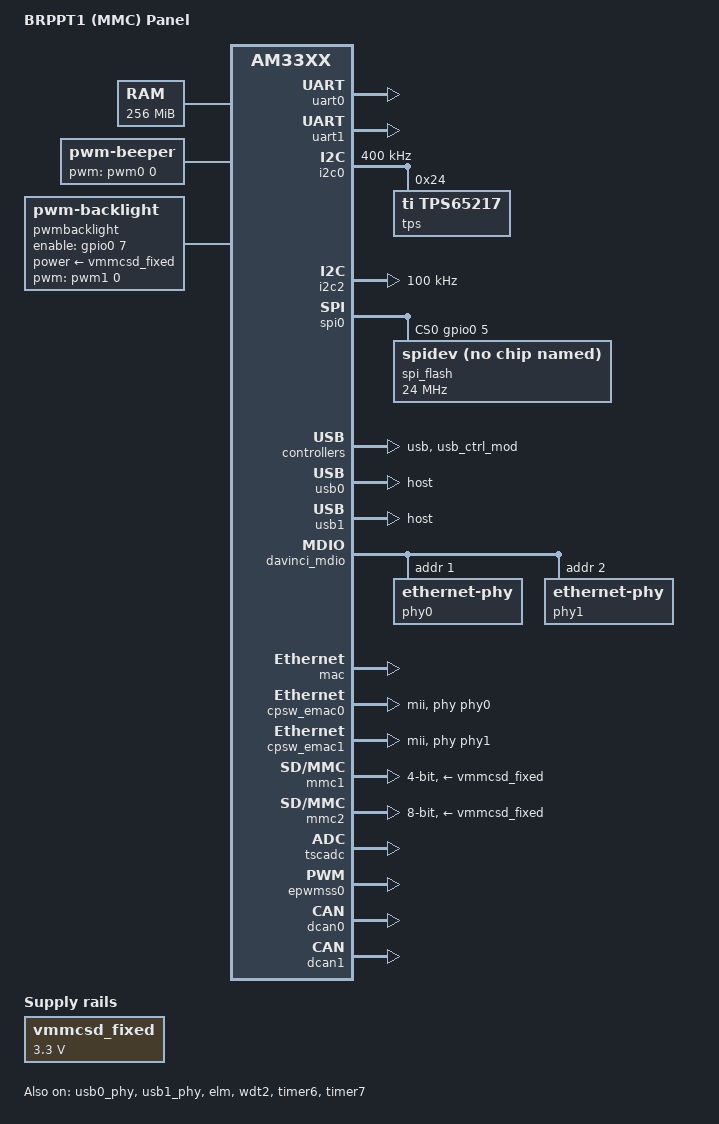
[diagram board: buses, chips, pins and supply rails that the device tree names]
// SPDX-License-Identifier: GPL-2.0+
/*
 * Copyright (C) 2018 B&R Industrial Automation GmbH
 * http://www.br-automation.com
 *
 */
/dts-v1/;

#include "am33xx.dtsi"

/ {
	model = "BRPPT1 (MMC) Panel";
	compatible = "ti,am33xx";

	fset: factory-settings {
		bl-version	= "ABCDEFGHIJKLMNOPQRSTUVWXYZ0123456890";
		version		= <0x0100>;
		order-no	= "6PPT30 (SPI)";
		hw-revision	= "ABCDEFGHIJKLMNOPQRSTUVWXYZ0123456890";
		serial-no	= "0";
		device-id	= <0x0>;
		parent-id	= <0x0>;
		hw-variant	= <0x1>;
	};

	aliases {
		ds1bkl0 = &pwmbacklight;
		ds1bkl1 = &tps_bl;
		ds1timing = &timing0;
		ds1ctrl = &lcdc;
		gpmc = &gpmc;
		mmc = &mmc2;
		spi0 = &spi0;
		fset = &fset;
	};

	chosen {
		bootargs = "console=ttyO0,115200 earlyprintk";
		stdout-path = &uart0;
	};

	memory {
		device_type = "memory";
		reg = <0x80000000 0x10000000>; /* 256 MB */
	};

	panel {
		status = "disabled";

		compatible = "ti,tilcdc,panel";
		enable-gpios = <&gpio0 6 GPIO_ACTIVE_LOW>;

		backlight = <&pwmbacklight>;
		bkl-pwm = <&pwmbacklight>;
		bkl-tps = <&tps_bl>;

		panel-info {
			ac-bias		= <255>;
			ac-bias-intrpt	= <0>;
			dma-burst-sz	= <16>;
			bpp		= <32>;
			fdd		= <0x80>;
			sync-edge	= <0>;
			sync-ctrl	= <1>;
			raster-order	= <0>;
			fifo-th		= <0>;
		};

		display-timings {
			native-mode = <&timing0>;
			timing0: lcd {
				clock-frequency	= <32000000>;
				hactive		= <800>;
				vactive		= <480>;
				hfront-porch	= <2>;
				hback-porch	= <192>;
				hsync-len	= <1>;
				vfront-porch	= <20>;
				vback-porch	= <2>;
				vsync-len	= <1>;
				hsync-active	= <1>;
				vsync-active	= <1>;
				pupdelay	= <10>;
				pondelay	= <10>;
			};
		};
	};

	vmmcsd_fixed: fixedregulator@0 {
		compatible = "regulator-fixed";
		regulator-name = "vmmcsd_fixed";
		regulator-min-microvolt = <3300000>;
		regulator-max-microvolt = <3300000>;
	};

	pwm0: omap-pwm@timer5 {
		compatible = "ti,omap-dmtimer-pwm";
		ti,timers = <&timer5>;
		#pwm-cells = <3>;
	};

	pwm1: omap-pwm@timer6 {
		compatible = "ti,omap-dmtimer-pwm";
		ti,timers = <&timer6>;
		#pwm-cells = <3>;
	};

	beeper: pwm-beep {
		compatible = "pwm-beeper";
		pwms = <&pwm0 0 0 0>;
	};

	pwmbacklight: pwm-bkl {
		compatible = "pwm-backlight";
		pwms = <&pwm1 0 5000000 0>;

		default-brightness-level = <255>;
		brightness-levels = <0 16 32 64 128 170 202 234 255>;

		power-supply = <&vmmcsd_fixed>;
		enable-gpios = <&gpio0 7 GPIO_ACTIVE_HIGH>;
	};
};

&uart0 {		/* console uart */
	u-boot,dm-spl;
	status = "okay";
};

&uart1 {
	status = "okay";
};

&i2c0 {
	u-boot,dm-spl;
	status = "okay";
	clock-frequency = <400000>;

	tps: tps@24 {		/* PMIC controller */
		u-boot,dm-spl;
		reg = <0x24>;
		compatible = "ti,tps65217";

		tps_bl: backlight {
			compatible = "ti,tps65217-bl";
			isel = <1>;	/* 1 - ISET1, 2 ISET2 */
			fdim = <1000>;	/* TPS65217_BL_FDIM_1kHZ */
			default-brightness = <50>;
		};
	};
};

&i2c2 {
	status = "okay";
	clock-frequency = <100000>;
};

&spi0 {
	u-boot,dm-spl;
	status = "okay";

	cs-gpios = <&gpio0 5 GPIO_ACTIVE_HIGH>,
		   <&gpio0 6 GPIO_ACTIVE_HIGH>,
		   <0>,
		   <0>;

	spi-max-frequency = <24000000>;

	spi_flash: spiflash@0 {
		u-boot,dm-spl;
		u-boot,dm-pre-reloc;
		compatible = "spidev", "jedec,spi-nor";
		spi-max-frequency = <24000000>;
		reg = <0>;
	};
};

&edma {
	status = "okay";
};

&cppi41dma  {
	status = "okay";
};

&usb {
	status = "okay";
};

&usb_ctrl_mod {
	status = "okay";
};

&usb0_phy {
	status = "okay";
};

&usb1_phy {
	status = "okay";
};

&usb0 {
	status = "okay";
	dr_mode = "host";
};

&usb1 {
	status = "okay";
	dr_mode = "host";
};

&davinci_mdio {
	status = "okay";

	phy0: ethernet-phy@0 {
		reg = <1>;
	};

	phy1: ethernet-phy@1 {
		reg = <2>;
	};
};

&mac {
	status = "okay";
};

&cpsw_emac0 {
	phy-handle = <&phy0>;
	dual_emac_res_vlan = <1>;
	phy-mode = "mii";
};

&cpsw_emac1 {
	phy-handle = <&phy1>;
	dual_emac_res_vlan = <2>;
	phy-mode = "mii";
};

&mmc1 {
	u-boot,dm-spl;
	vmmc-supply = <&vmmcsd_fixed>;
	bus-width = <0x4>;
	ti,non-removable;
	ti,needs-special-hs-handling;
	ti,vcc-aux-disable-is-sleep;
	status = "okay";
};

&mmc2 {
	u-boot,dm-spl;
	vmmc-supply = <&vmmcsd_fixed>;
	bus-width = <0x8>;
	ti,non-removable;
	ti,needs-special-hs-handling;
	ti,vcc-aux-disable-is-sleep;
	status = "okay";
};

&lcdc {
	status = "disabled";
};

&elm {
	status = "okay";
};

&sham {
	status = "okay";
};

&aes {
	status = "okay";
};

&gpio0 {
	u-boot,dm-spl;
	ti,no-reset-on-init;
};

&gpio1 {
	u-boot,dm-spl;
	ti,no-reset-on-init;
};

&gpio2 {
	u-boot,dm-spl;
	ti,no-reset-on-init;
};

&gpio3 {
	u-boot,dm-spl;
	ti,no-reset-on-init;
};

&wdt2 {
	ti,no-reset-on-init;
	ti,no-idle-on-init;
};

&tscadc {
	status = "okay";
	tsc {
		ti,wires = <4>;
		ti,x-plate-resistance = <200>;
		ti,zx-cutoff-ratio = <40>;
		ti,min_deviation = <60>;
		ti,max_deviation = <600>;
		ti,coordinate-readouts = <5>;
		ti,wire-config = <0x00 0x11 0x22 0x33>;

		bnr-buttons {
			Home-Button {};
		};
	};

	adc {
		ti,adc-channels = <5 6 7>;
	};
};

&timer6 {		/* used for cpsw end device */
	status = "okay";
	ti,no-reset-on-init;
	ti,no-idle-on-init;
};

&timer7 {		/* used for cpsw end device */
	status = "okay";
	ti,no-reset-on-init;
	ti,no-idle-on-init;
};

&wdt2 {
	status = "okay";
	ti,no-reset-on-init;
	ti,no-idle-on-init;
};

&epwmss0 {
	status = "okay";
};

&tscadc {
	status = "okay";
};

&dcan0 {
	status = "okay";
};

&dcan1 {
	status = "okay";
};

&sham {
	status = "disabled";
};

&aes {
	status = "disabled";
};

&rng {
	status = "disabled";
};
